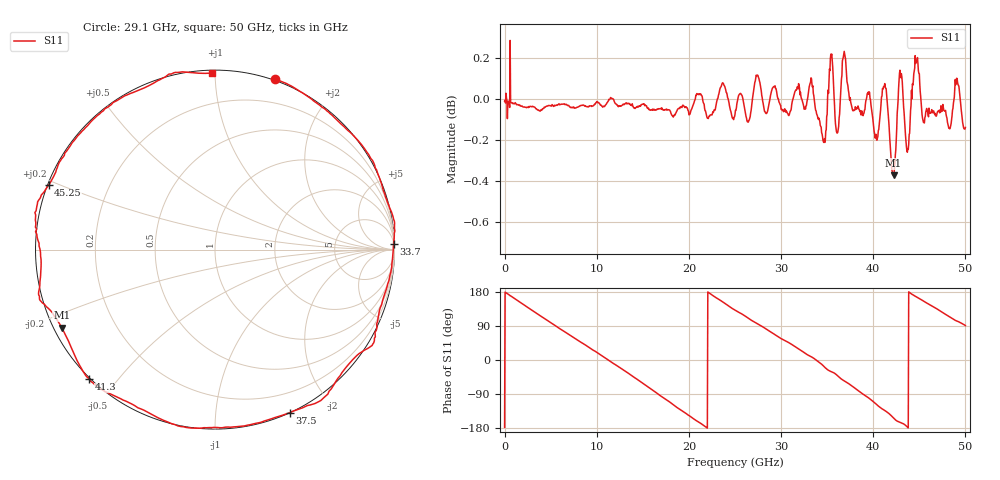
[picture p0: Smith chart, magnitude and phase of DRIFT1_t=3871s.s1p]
!Created with skrf (http://scikit-rf.org).
# Hz S RI R 50.0
!freq ReS11 ImS11
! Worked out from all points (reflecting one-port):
!   1001 points, 300 kHz to 50 GHz, reference 50 ohm
!   lowest |S11| = -0.4 dB at 42.2 GHz (marker M1), VSWR 46.90, Z = 1.13 - j12 ohm
!   phase of S11 starts at -178 deg and turns -811 deg over the sweep
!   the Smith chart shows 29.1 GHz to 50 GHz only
!   S11 on the Smith chart (normalised r, x): 29.1 GHz: -0.01, +1.41; 33.7 GHz: 10, +63; 37.5 GHz: -0.00, -1.56; 41.3 GHz: -0.00, -0.42; 45.25 GHz: 0.00, +0.19; 50 GHz: 0.02, +0.98
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300000  -0.9981 -0.039
1.60029e9  -0.893 0.4425
3.40028e9  -0.5595 0.8222
6.250262e9  0.1961 0.9777
7.850253e9  0.5924 0.7999
9.550243e9  0.8899 0.4474
1.115023e10  0.9977 0.028
1.250022e10  0.9359 -0.3406
1.410022e10  0.6854 -0.7213
1.580021e10  0.2552 -0.9604
1.73002e10  -0.1847 -0.9764
1.875019e10  -0.5844 -0.8041
2.165017e10  -0.9907 -0.1133
2.345016e10  -0.9253 0.3961
2.500015e10  -0.6551 0.7441
2.725014e10  -0.1453 1.001
2.910013e10  0.3352 0.9488
3.125011e10  0.7705 0.6364
3.37001e10  0.9948 0.0309
3.555009e10  0.8679 -0.539
3.750008e10  0.4159 -0.9103
3.945006e10  -0.1609 -0.9908
4.130005e10  -0.7005 -0.723
4.220005e10  -0.8539 -0.4348
4.375004e10  -0.9717 -0.0363
4.525003e10  -0.9276 0.3586
4.770001e10  -0.5364 0.8362
5e10  -0.0175 0.984
